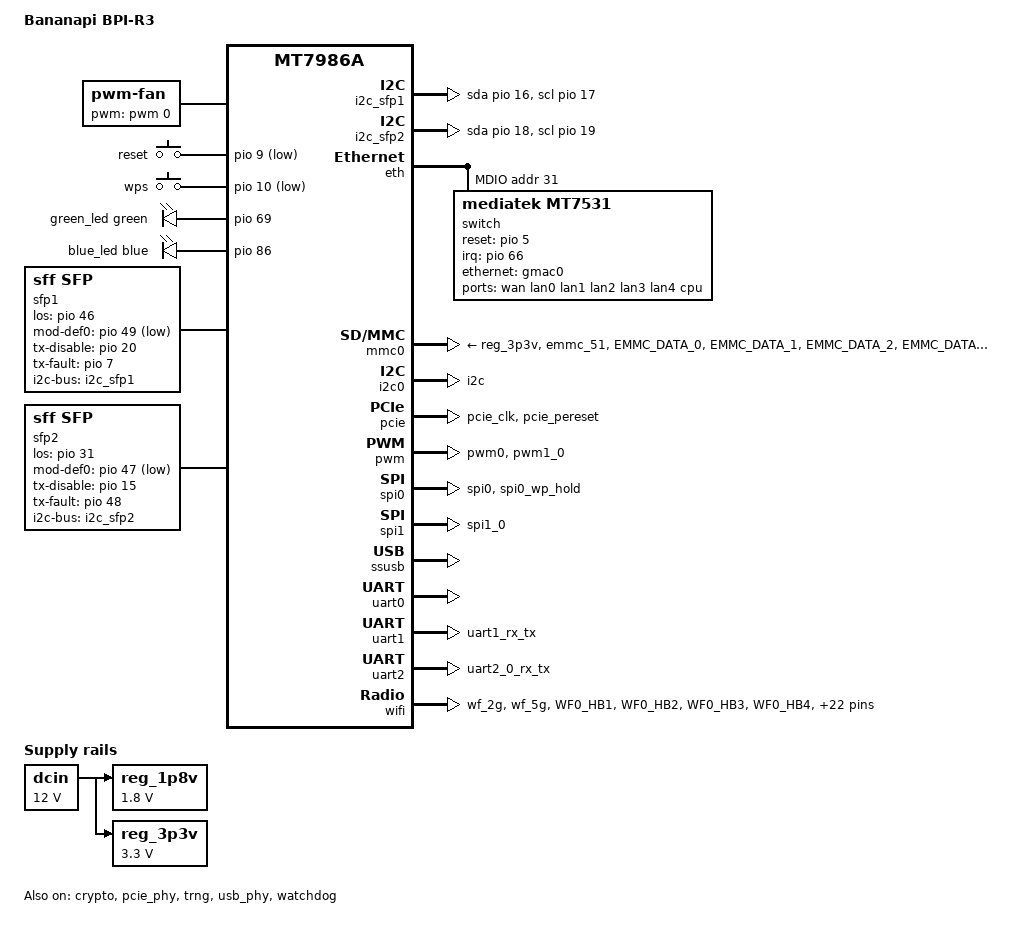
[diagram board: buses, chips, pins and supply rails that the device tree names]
// SPDX-License-Identifier: (GPL-2.0 OR MIT)
/*
 * Copyright (C) 2021 MediaTek Inc.
 * Authors: Sam.Shih <sam.shih@mediatek.com>
 *          Frank Wunderlich <frank-w@public-files.de>
 *          Daniel Golle <daniel@makrotopia.org>
 */

/dts-v1/;
#include <dt-bindings/gpio/gpio.h>
#include <dt-bindings/input/input.h>
#include <dt-bindings/leds/common.h>
#include <dt-bindings/pinctrl/mt65xx.h>

#include "mt7986a.dtsi"

/ {
	model = "Bananapi BPI-R3";
	chassis-type = "embedded";
	compatible = "bananapi,bpi-r3", "mediatek,mt7986a";

	aliases {
		serial0 = &uart0;
		ethernet0 = &gmac0;
		ethernet1 = &gmac1;
	};

	chosen {
		stdout-path = "serial0:115200n8";
	};

	dcin: regulator-12vd {
		compatible = "regulator-fixed";
		regulator-name = "12vd";
		regulator-min-microvolt = <12000000>;
		regulator-max-microvolt = <12000000>;
		regulator-boot-on;
		regulator-always-on;
	};

	fan: pwm-fan {
		compatible = "pwm-fan";
		#cooling-cells = <2>;
		/* cooling level (0, 1, 2) - pwm inverted */
		cooling-levels = <255 96 0>;
		pwms = <&pwm 0 10000>;
		status = "okay";
	};

	gpio-keys {
		compatible = "gpio-keys";

		reset-key {
			label = "reset";
			linux,code = <KEY_RESTART>;
			gpios = <&pio 9 GPIO_ACTIVE_LOW>;
		};

		wps-key {
			label = "wps";
			linux,code = <KEY_WPS_BUTTON>;
			gpios = <&pio 10 GPIO_ACTIVE_LOW>;
		};
	};

	/* i2c of the left SFP cage (wan) */
	i2c_sfp1: i2c-0 {
		compatible = "i2c-gpio";
		sda-gpios = <&pio 16 (GPIO_ACTIVE_HIGH | GPIO_OPEN_DRAIN)>;
		scl-gpios = <&pio 17 (GPIO_ACTIVE_HIGH | GPIO_OPEN_DRAIN)>;
		i2c-gpio,delay-us = <2>;
	};

	/* i2c of the right SFP cage (lan) */
	i2c_sfp2: i2c-1 {
		compatible = "i2c-gpio";
		sda-gpios = <&pio 18 (GPIO_ACTIVE_HIGH | GPIO_OPEN_DRAIN)>;
		scl-gpios = <&pio 19 (GPIO_ACTIVE_HIGH | GPIO_OPEN_DRAIN)>;
		i2c-gpio,delay-us = <2>;
	};

	leds {
		compatible = "gpio-leds";

		green_led: led-0 {
			color = <LED_COLOR_ID_GREEN>;
			function = LED_FUNCTION_POWER;
			gpios = <&pio 69 GPIO_ACTIVE_HIGH>;
			default-state = "on";
		};

		blue_led: led-1 {
			color = <LED_COLOR_ID_BLUE>;
			function = LED_FUNCTION_STATUS;
			gpios = <&pio 86 GPIO_ACTIVE_HIGH>;
			default-state = "off";
		};
	};

	reg_1p8v: regulator-1p8v {
		compatible = "regulator-fixed";
		regulator-name = "1.8vd";
		regulator-min-microvolt = <1800000>;
		regulator-max-microvolt = <1800000>;
		regulator-boot-on;
		regulator-always-on;
		vin-supply = <&dcin>;
	};

	reg_3p3v: regulator-3p3v {
		compatible = "regulator-fixed";
		regulator-name = "3.3vd";
		regulator-min-microvolt = <3300000>;
		regulator-max-microvolt = <3300000>;
		regulator-boot-on;
		regulator-always-on;
		vin-supply = <&dcin>;
	};

	/* left SFP cage (wan) */
	sfp1: sfp-1 {
		compatible = "sff,sfp";
		i2c-bus = <&i2c_sfp1>;
		los-gpios = <&pio 46 GPIO_ACTIVE_HIGH>;
		maximum-power-milliwatt = <3000>;
		mod-def0-gpios = <&pio 49 GPIO_ACTIVE_LOW>;
		tx-disable-gpios = <&pio 20 GPIO_ACTIVE_HIGH>;
		tx-fault-gpios = <&pio 7 GPIO_ACTIVE_HIGH>;
	};

	/* right SFP cage (lan) */
	sfp2: sfp-2 {
		compatible = "sff,sfp";
		i2c-bus = <&i2c_sfp2>;
		los-gpios = <&pio 31 GPIO_ACTIVE_HIGH>;
		mod-def0-gpios = <&pio 47 GPIO_ACTIVE_LOW>;
		maximum-power-milliwatt = <3000>;
		tx-disable-gpios = <&pio 15 GPIO_ACTIVE_HIGH>;
		tx-fault-gpios = <&pio 48 GPIO_ACTIVE_HIGH>;
	};
};

&cpu_thermal {
	cooling-maps {
		map-cpu-active-high {
			/* active: set fan to cooling level 2 */
			cooling-device = <&fan 2 2>;
			trip = <&cpu_trip_active_high>;
		};

		map-cpu-active-med {
			/* active: set fan to cooling level 1 */
			cooling-device = <&fan 1 1>;
			trip = <&cpu_trip_active_med>;
		};

		map-cpu-active-low {
			/* active: set fan to cooling level 0 */
			cooling-device = <&fan 0 0>;
			trip = <&cpu_trip_active_low>;
		};
	};
};

&crypto {
	status = "okay";
};

&eth {
	status = "okay";

	gmac0: mac@0 {
		compatible = "mediatek,eth-mac";
		reg = <0>;
		phy-mode = "2500base-x";

		fixed-link {
			speed = <2500>;
			full-duplex;
			pause;
		};
	};

	gmac1: mac@1 {
		compatible = "mediatek,eth-mac";
		reg = <1>;
		phy-mode = "2500base-x";
		sfp = <&sfp1>;
		managed = "in-band-status";
	};

	mdio: mdio-bus {
		#address-cells = <1>;
		#size-cells = <0>;
	};
};

&mdio {
	switch: switch@31 {
		compatible = "mediatek,mt7531";
		reg = <31>;
		interrupt-controller;
		interrupt-parent = <&pio>;
		interrupts = <66 IRQ_TYPE_LEVEL_HIGH>;
		#interrupt-cells = <1>;
		reset-gpios = <&pio 5 GPIO_ACTIVE_HIGH>;
	};
};

&mmc0 {
	pinctrl-names = "default", "state_uhs";
	pinctrl-0 = <&mmc0_pins_default>;
	pinctrl-1 = <&mmc0_pins_uhs>;
	vmmc-supply = <&reg_3p3v>;
	vqmmc-supply = <&reg_1p8v>;
};

&i2c0 {
	pinctrl-names = "default";
	pinctrl-0 = <&i2c_pins>;
	status = "okay";
};

&pcie {
	pinctrl-names = "default";
	pinctrl-0 = <&pcie_pins>;
	status = "okay";
};

&pcie_phy {
	status = "okay";
};

&pio {
	i2c_pins: i2c-pins {
		mux {
			function = "i2c";
			groups = "i2c";
		};
	};

	mmc0_pins_default: mmc0-pins {
		mux {
			function = "emmc";
			groups = "emmc_51";
		};
		conf-cmd-dat {
			pins = "EMMC_DATA_0", "EMMC_DATA_1", "EMMC_DATA_2",
			       "EMMC_DATA_3", "EMMC_DATA_4", "EMMC_DATA_5",
			       "EMMC_DATA_6", "EMMC_DATA_7", "EMMC_CMD";
			input-enable;
			drive-strength = <4>;
			bias-pull-up = <MTK_PUPD_SET_R1R0_01>; /* pull-up 10K */
		};
		conf-clk {
			pins = "EMMC_CK";
			drive-strength = <6>;
			bias-pull-down = <MTK_PUPD_SET_R1R0_10>; /* pull-down 50K */
		};
		conf-ds {
			pins = "EMMC_DSL";
			bias-pull-down = <MTK_PUPD_SET_R1R0_10>; /* pull-down 50K */
		};
		conf-rst {
			pins = "EMMC_RSTB";
			drive-strength = <4>;
			bias-pull-up = <MTK_PUPD_SET_R1R0_01>; /* pull-up 10K */
		};
	};

	mmc0_pins_uhs: mmc0-uhs-pins {
		mux {
			function = "emmc";
			groups = "emmc_51";
		};
		conf-cmd-dat {
			pins = "EMMC_DATA_0", "EMMC_DATA_1", "EMMC_DATA_2",
			       "EMMC_DATA_3", "EMMC_DATA_4", "EMMC_DATA_5",
			       "EMMC_DATA_6", "EMMC_DATA_7", "EMMC_CMD";
			input-enable;
			drive-strength = <4>;
			bias-pull-up = <MTK_PUPD_SET_R1R0_01>; /* pull-up 10K */
		};
		conf-clk {
			pins = "EMMC_CK";
			drive-strength = <6>;
			bias-pull-down = <MTK_PUPD_SET_R1R0_10>; /* pull-down 50K */
		};
		conf-ds {
			pins = "EMMC_DSL";
			bias-pull-down = <MTK_PUPD_SET_R1R0_10>; /* pull-down 50K */
		};
		conf-rst {
			pins = "EMMC_RSTB";
			drive-strength = <4>;
			bias-pull-up = <MTK_PUPD_SET_R1R0_01>; /* pull-up 10K */
		};
	};

	pcie_pins: pcie-pins {
		mux {
			function = "pcie";
			groups = "pcie_clk", "pcie_pereset";
		};
	};

	pwm_pins: pwm-pins {
		mux {
			function = "pwm";
			groups = "pwm0", "pwm1_0";
		};
	};

	spi_flash_pins: spi-flash-pins {
		mux {
			function = "spi";
			groups = "spi0", "spi0_wp_hold";
		};
	};

	spic_pins: spic-pins {
		mux {
			function = "spi";
			groups = "spi1_0";
		};
	};

	uart1_pins: uart1-pins {
		mux {
			function = "uart";
			groups = "uart1_rx_tx";
		};
	};

	uart2_pins: uart2-pins {
		mux {
			function = "uart";
			groups = "uart2_0_rx_tx";
		};
	};

	wf_2g_5g_pins: wf-2g-5g-pins {
		mux {
			function = "wifi";
			groups = "wf_2g", "wf_5g";
		};
		conf {
			pins = "WF0_HB1", "WF0_HB2", "WF0_HB3", "WF0_HB4",
			       "WF0_HB0", "WF0_HB0_B", "WF0_HB5", "WF0_HB6",
			       "WF0_HB7", "WF0_HB8", "WF0_HB9", "WF0_HB10",
			       "WF0_TOP_CLK", "WF0_TOP_DATA", "WF1_HB1",
			       "WF1_HB2", "WF1_HB3", "WF1_HB4", "WF1_HB0",
			       "WF1_HB5", "WF1_HB6", "WF1_HB7", "WF1_HB8",
			       "WF1_TOP_CLK", "WF1_TOP_DATA";
			drive-strength = <4>;
		};
	};

	wf_dbdc_pins: wf-dbdc-pins {
		mux {
			function = "wifi";
			groups = "wf_dbdc";
		};
		conf {
			pins = "WF0_HB1", "WF0_HB2", "WF0_HB3", "WF0_HB4",
			       "WF0_HB0", "WF0_HB0_B", "WF0_HB5", "WF0_HB6",
			       "WF0_HB7", "WF0_HB8", "WF0_HB9", "WF0_HB10",
			       "WF0_TOP_CLK", "WF0_TOP_DATA", "WF1_HB1",
			       "WF1_HB2", "WF1_HB3", "WF1_HB4", "WF1_HB0",
			       "WF1_HB5", "WF1_HB6", "WF1_HB7", "WF1_HB8",
			       "WF1_TOP_CLK", "WF1_TOP_DATA";
			drive-strength = <4>;
		};
	};

	wf_led_pins: wf-led-pins {
		mux {
			function = "led";
			groups = "wifi_led";
		};
	};
};

&pwm {
	pinctrl-names = "default";
	pinctrl-0 = <&pwm_pins>;
	status = "okay";
};

&spi0 {
	pinctrl-names = "default";
	pinctrl-0 = <&spi_flash_pins>;
	status = "okay";
};

&spi1 {
	pinctrl-names = "default";
	pinctrl-0 = <&spic_pins>;
	status = "okay";
};

&ssusb {
	status = "okay";
};

&switch {
	ports {
		#address-cells = <1>;
		#size-cells = <0>;

		port@0 {
			reg = <0>;
			label = "wan";
		};

		port@1 {
			reg = <1>;
			label = "lan0";
		};

		port@2 {
			reg = <2>;
			label = "lan1";
		};

		port@3 {
			reg = <3>;
			label = "lan2";
		};

		port@4 {
			reg = <4>;
			label = "lan3";
		};

		port5: port@5 {
			reg = <5>;
			label = "lan4";
			phy-mode = "2500base-x";
			sfp = <&sfp2>;
			managed = "in-band-status";
		};

		port@6 {
			reg = <6>;
			label = "cpu";
			ethernet = <&gmac0>;
			phy-mode = "2500base-x";

			fixed-link {
				speed = <2500>;
				full-duplex;
				pause;
			};
		};
	};
};

&trng {
	status = "okay";
};

&uart0 {
	status = "okay";
};

&uart1 {
	pinctrl-names = "default";
	pinctrl-0 = <&uart1_pins>;
	status = "okay";
};

&uart2 {
	pinctrl-names = "default";
	pinctrl-0 = <&uart2_pins>;
	status = "okay";
};

&usb_phy {
	status = "okay";
};

&watchdog {
	status = "okay";
};

&wifi {
	status = "okay";
	pinctrl-names = "default", "dbdc";
	pinctrl-0 = <&wf_2g_5g_pins>, <&wf_led_pins>;
	pinctrl-1 = <&wf_dbdc_pins>, <&wf_led_pins>;

	led {
		led-active-low;
	};
};

